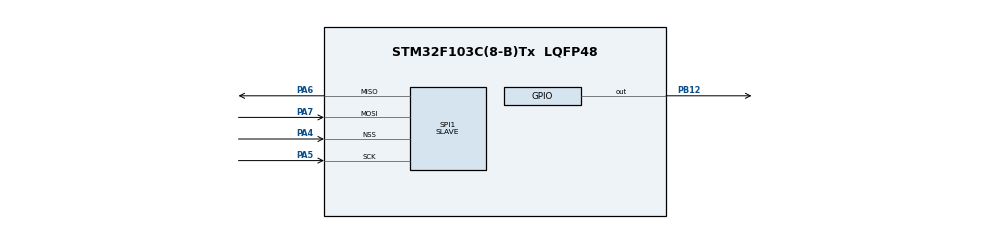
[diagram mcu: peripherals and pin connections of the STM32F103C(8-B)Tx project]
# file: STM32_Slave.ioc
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Mcu.Family=STM32F1
Mcu.Name=STM32F103C(8-B)Tx
Mcu.Package=LQFP48
NVIC.PriorityGroup=NVIC_PRIORITYGROUP_4
PA4.Mode=NSS_Signal_Hard_Input
PA4.Signal=SPI1_NSS
PA5.Mode=Full_Duplex_Slave
PA5.Signal=SPI1_SCK
PA6.Mode=Full_Duplex_Slave
PA6.Signal=SPI1_MISO
PA7.Mode=Full_Duplex_Slave
PA7.Signal=SPI1_MOSI
PB12.Signal=GPIO_Output
ProjectManager.HeapSize=0x200
ProjectManager.StackSize=0x400
ProjectManager.TargetToolchain=STM32CubeIDE
RCC.APB1Freq_Value=8000000
RCC.APB2Freq_Value=8000000
SPI1.Direction=SPI_DIRECTION_2LINES
SPI1.Mode=SPI_MODE_SLAVE
SPI1.VirtualNSS=VM_NSSHARD
SPI1.VirtualType=VM_SLAVE
VP_SYS_VS_ND.Mode=No_Debug
board=custom

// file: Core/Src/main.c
/* USER CODE BEGIN Header */
/**
  ******************************************************************************
  * @file           : main.c
  * @brief          : Main program body
  ******************************************************************************
  * @attention
  *
  * Copyright (c) 2026 STMicroelectronics.
  * All rights reserved.
  *
  * This software is licensed under terms that can be found in the LICENSE file
  * in the root directory of this software component.
  * If no LICENSE file comes with this software, it is provided AS-IS.
  *
  ******************************************************************************
  */
/* USER CODE END Header */
#include "main.h"

/* USER CODE BEGIN PTD */
	typedef struct {
		uint16_t id;
		float voltage;
		uint16_t speed;
	} Case;

/* USER CODE END PTD */

SPI_HandleTypeDef hspi1;

void SystemClock_Config(void);
static void MX_GPIO_Init(void);
static void MX_SPI1_Init(void);

int main(void)
{

  /* MCU Configuration--------------------------------------------------------*/

  /* Reset of all peripherals, Initializes the Flash interface and the Systick. */
  HAL_Init();

  /* Configure the system clock */
  SystemClock_Config();

  /* Initialize all configured peripherals */
  MX_GPIO_Init();
  MX_SPI1_Init();
  /* USER CODE BEGIN 2 */

  // testing
//  uint8_t rxByte;

  uint8_t dummyTx[2] = {0}; // used when recieving caseID communication
  uint8_t dummyRx[3] = {0}; // used when returning case telemetry
  uint8_t requestBytes[2]; // request bytes recieved from master
  uint16_t requestId = 0x0000;	// id came from master

  // selected values
  float selectedVoltage = 0;
  uint16_t selectedSpeed = 0;

  // encoded value
  uint16_t voltageRaw;
  uint16_t speedRaw;
  uint32_t packedData; // both raw volts and speed

  // SPI communication
  uint8_t txData[3];

  // array of structs
  // initialize cases
  Case cases[5] = {
		  {0x1001, 12.3, 200},
  		  {0x1002, 14.2, 150},
  		  {0x1003, 13.8, 100},
  		  {0x1004, 11.5, 220},
  		  {0x1005, 10.9, 280},
  	  };
  /* USER CODE END 2 */

  /* Infinite loop */
  while (1)
  {

    /* USER CODE BEGIN 3 */

	  HAL_SPI_TransmitReceive(
	      &hspi1,
	      dummyTx,
		  requestBytes,
	      2,
		  HAL_MAX_DELAY
	  );

	  requestId = (requestBytes[0] << 8 ) | 0x00;
	  requestId |= requestBytes[1];

	  for(int i = 0; i < 5; i++){
		  // match
		  if (cases[i].id == requestId) {
			  selectedVoltage = cases[i].voltage;
			  selectedSpeed = cases[i].speed;
			  break;
		  }
	  }
	  voltageRaw = selectedVoltage * 4095 / 24;  // from 0 -> 24 volts to 0 -> 4095
	  speedRaw = selectedSpeed * 4095 / 300;     // from 0 -> 300 km/h to 0 -> 4095

	  packedData = ( voltageRaw << 12 );
	  packedData |=  speedRaw;

	  txData[0] = (packedData >> 16) & 0xFF;
	  txData[1] = (packedData >> 8) & 0xFF;
	  txData[2] = packedData & 0xFF;

	  HAL_SPI_TransmitReceive(
	      &hspi1,
	      txData,
	      dummyRx,
	      3,
		  HAL_MAX_DELAY
	  );

  }
  /* USER CODE END 3 */
}

void SystemClock_Config(void)
{
  RCC_OscInitTypeDef RCC_OscInitStruct = {0};
  RCC_ClkInitTypeDef RCC_ClkInitStruct = {0};

  /** Initializes the RCC Oscillators according to the specified parameters
  * in the RCC_OscInitTypeDef structure.
  */
  RCC_OscInitStruct.OscillatorType = RCC_OSCILLATORTYPE_HSI;
  RCC_OscInitStruct.HSIState = RCC_HSI_ON;
  RCC_OscInitStruct.HSICalibrationValue = RCC_HSICALIBRATION_DEFAULT;
  RCC_OscInitStruct.PLL.PLLState = RCC_PLL_NONE;
  if (HAL_RCC_OscConfig(&RCC_OscInitStruct) != HAL_OK)
  {
    Error_Handler();
  }

  /** Initializes the CPU, AHB and APB buses clocks
  */
  RCC_ClkInitStruct.ClockType = RCC_CLOCKTYPE_HCLK|RCC_CLOCKTYPE_SYSCLK
                              |RCC_CLOCKTYPE_PCLK1|RCC_CLOCKTYPE_PCLK2;
  RCC_ClkInitStruct.SYSCLKSource = RCC_SYSCLKSOURCE_HSI;
  RCC_ClkInitStruct.AHBCLKDivider = RCC_SYSCLK_DIV1;
  RCC_ClkInitStruct.APB1CLKDivider = RCC_HCLK_DIV1;
  RCC_ClkInitStruct.APB2CLKDivider = RCC_HCLK_DIV1;

  if (HAL_RCC_ClockConfig(&RCC_ClkInitStruct, FLASH_LATENCY_0) != HAL_OK)
  {
    Error_Handler();
  }
}

static void MX_SPI1_Init(void)
{

  /* SPI1 parameter configuration*/
  hspi1.Instance = SPI1;
  hspi1.Init.Mode = SPI_MODE_SLAVE;
  hspi1.Init.Direction = SPI_DIRECTION_2LINES;
  hspi1.Init.DataSize = SPI_DATASIZE_8BIT;
  hspi1.Init.CLKPolarity = SPI_POLARITY_LOW;
  hspi1.Init.CLKPhase = SPI_PHASE_1EDGE;
  hspi1.Init.NSS = SPI_NSS_HARD_INPUT;
  hspi1.Init.FirstBit = SPI_FIRSTBIT_MSB;
  hspi1.Init.TIMode = SPI_TIMODE_DISABLE;
  hspi1.Init.CRCCalculation = SPI_CRCCALCULATION_DISABLE;
  hspi1.Init.CRCPolynomial = 10;
  if (HAL_SPI_Init(&hspi1) != HAL_OK)
  {
    Error_Handler();
  }

}

static void MX_GPIO_Init(void)
{
  GPIO_InitTypeDef GPIO_InitStruct = {0};

  /* GPIO Ports Clock Enable */
  __HAL_RCC_GPIOA_CLK_ENABLE();
  __HAL_RCC_GPIOB_CLK_ENABLE();

  /*Configure GPIO pin Output Level */
  HAL_GPIO_WritePin(GPIOB, GPIO_PIN_12, GPIO_PIN_RESET);

  /*Configure GPIO pin : PB12 */
  GPIO_InitStruct.Pin = GPIO_PIN_12;
  GPIO_InitStruct.Mode = GPIO_MODE_OUTPUT_PP;
  GPIO_InitStruct.Pull = GPIO_NOPULL;
  GPIO_InitStruct.Speed = GPIO_SPEED_FREQ_LOW;
  HAL_GPIO_Init(GPIOB, &GPIO_InitStruct);

}

void Error_Handler(void)
{
  __disable_irq();
  while (1)
  {
  }
}
